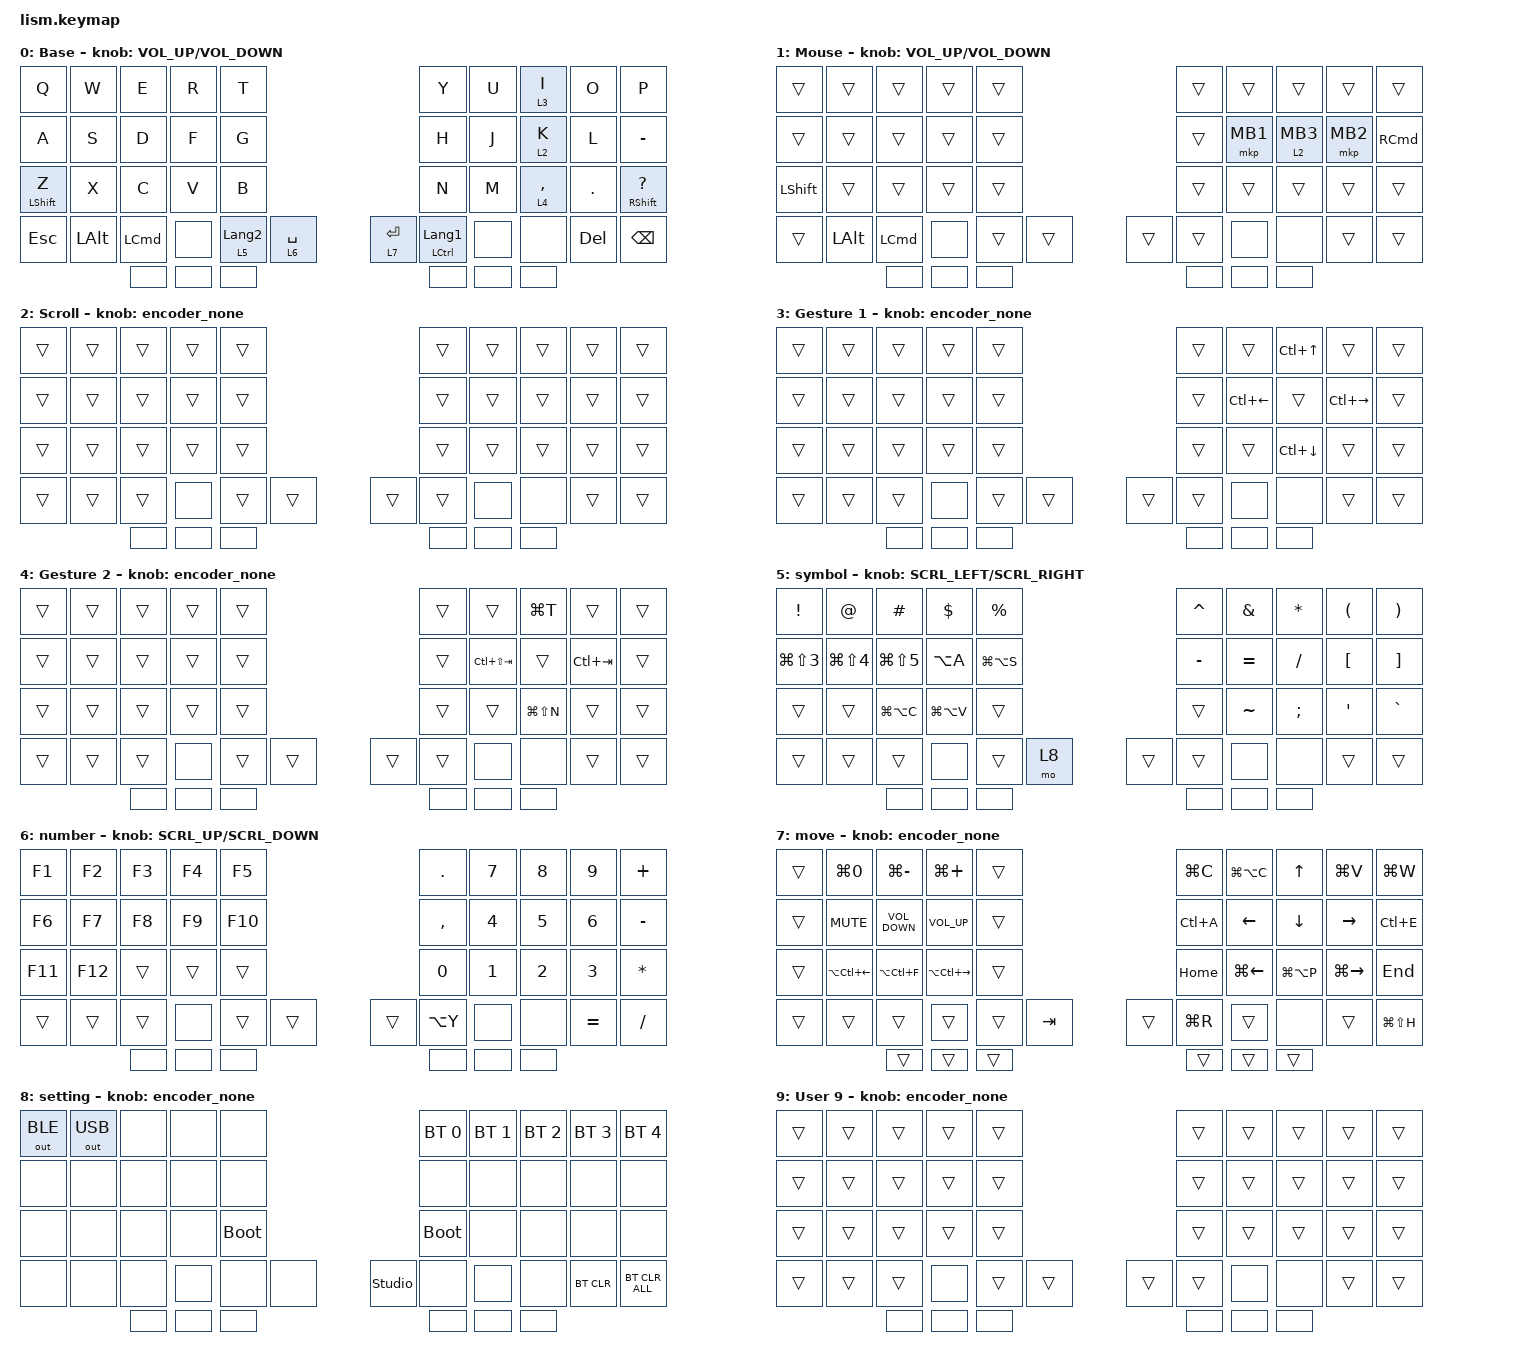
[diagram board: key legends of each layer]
#define ZMK_POINTING_DEFAULT_SCRL_VAL 200

#include <dt-bindings/zmk/mouse.h>
#include <behaviors.dtsi>
#include <dt-bindings/zmk/bt.h>
#include <dt-bindings/zmk/keys.h>
#include <dt-bindings/zmk/outputs.h>
#include <dt-bindings/zmk/pointing.h>

&mt {
    tapping-term-ms = <300>;
    flavor = "balanced";
};

&lt {
    tapping-term-ms = <300>;
    quick-tap-ms = <300>;
};

/*
 * Keep the standard &inc_dec_kp interface so Keymap Editor can edit both keycodes.
 * Its clockwise/counter-clockwise children add the shared two-step filter.
 */

&inc_dec_kp {
    bindings = <&encoder_key_divider_cw>, <&encoder_key_divider_ccw>;
};

/ {
    macros {
        emoji: emoji_macro {
            compatible = "zmk,behavior-macro";
            label = "EMOJI";
            #binding-cells = <0>;
            bindings =
                <&macro_press>,
                <&kp CAPSLOCK>,
                <&macro_tap>,
                <&kp E>,
                <&macro_release>,
                <&kp CAPSLOCK>;
        };
    };

    behaviors {
        mouse_lt: mouse_layer_tap {
            compatible = "zmk,behavior-hold-tap";
            #binding-cells = <2>;
            flavor = "tap-preferred";
            tapping-term-ms = <300>;
            quick-tap-ms = <300>;
            bindings = <&mo>, <&mkp>;

            display-name = "Mouse Layer-Tap";
        };

        encoder_key_divider_cw: encoder_key_divider_cw {
            compatible = "zmk,behavior-encoder-key-divider";
            #binding-cells = <1>;
            bindings = <&kp>;
            divisor = <2>;
            timeout-ms = <300>;
            direction = <1>;
            display-name = "Encoder Two-Step Clockwise";
        };

        encoder_key_divider_ccw: encoder_key_divider_ccw {
            compatible = "zmk,behavior-encoder-key-divider";
            #binding-cells = <1>;
            bindings = <&kp>;
            divisor = <2>;
            timeout-ms = <300>;
            direction = <2>;
            display-name = "Encoder Two-Step Counter-Clockwise";
        };

        encoder_msc: sensor_rotate_msc {
            compatible = "zmk,behavior-sensor-rotate-var";
            #sensor-binding-cells = <2>;
            bindings = <&msc>, <&msc>;

            tap-ms = <20>;
        };

        encoder_none: sensor_rotate_none {
            compatible = "zmk,behavior-sensor-rotate";
            #sensor-binding-cells = <0>;
            bindings = <&none>, <&none>;
        };
    };

    combos {
        compatible = "zmk,combos";

        exit_app {
            bindings = <&kp LG(Q)>;
            key-positions = <8 9>;
        };

        log_off {
            bindings = <&kp LG(LC(Q))>;
            key-positions = <40 41>;
        };
    };

    keymap {
        compatible = "zmk,keymap";

        default_layer {
            display-name = "Base";
            bindings = <
&kp Q         &kp W         &kp E             &kp R  &kp T                                         &kp Y                 &kp U  &lt 3 I      &kp O       &kp P
&kp A         &kp S         &kp D             &kp F  &kp G                                         &kp H                 &kp J  &lt 2 K      &kp L       &kp MINUS
&mt LSHIFT Z  &kp X         &kp C             &kp V  &kp B                                         &kp N                 &kp M  &lt 4 COMMA  &kp DOT     &mt RSHIFT QUESTION
&kp ESCAPE    &kp LEFT_ALT  &kp LEFT_COMMAND  &none  &lt 5 LANGUAGE_2  &lt 6 SPACE    &lt 7 ENTER  &mt LCTRL LANGUAGE_1  &none  &none        &kp DELETE  &kp BACKSPACE
                            &none             &none  &none                                         &none                 &none  &none
            >;

            sensor-bindings = <&inc_dec_kp C_VOLUME_UP C_VOLUME_DOWN>;
        };

        layer_1 {
            display-name = "Mouse";
            bindings = <
&trans      &trans        &trans            &trans  &trans                    &trans  &trans    &trans           &trans    &trans
&trans      &trans        &trans            &trans  &trans                    &trans  &mkp MB1  &mouse_lt 2 MB3  &mkp MB2  &kp RIGHT_COMMAND
&kp LSHIFT  &trans        &trans            &trans  &trans                    &trans  &trans    &trans           &trans    &trans
&trans      &kp LEFT_ALT  &kp LEFT_COMMAND  &none   &trans  &trans    &trans  &trans  &none     &none            &trans    &trans
                          &none             &none   &none                     &none   &none     &none
            >;

            sensor-bindings = <&inc_dec_kp C_VOLUME_UP C_VOLUME_DOWN>;
        };

        layer_2 {
            display-name = "Scroll";
            bindings = <
&trans  &trans  &trans  &trans  &trans                    &trans  &trans  &trans  &trans  &trans
&trans  &trans  &trans  &trans  &trans                    &trans  &trans  &trans  &trans  &trans
&trans  &trans  &trans  &trans  &trans                    &trans  &trans  &trans  &trans  &trans
&trans  &trans  &trans  &none   &trans  &trans    &trans  &trans  &none   &none   &trans  &trans
                &none   &none   &none                     &none   &none   &none
            >;

            sensor-bindings = <&encoder_none>;
        };

        layer_3 {
            display-name = "Gesture 1";
            bindings = <
&trans  &trans  &trans  &trans  &trans                    &trans  &trans              &kp LC(UP_ARROW)    &trans               &trans
&trans  &trans  &trans  &trans  &trans                    &trans  &kp LC(LEFT_ARROW)  &trans              &kp LC(RIGHT_ARROW)  &trans
&trans  &trans  &trans  &trans  &trans                    &trans  &trans              &kp LC(DOWN_ARROW)  &trans               &trans
&trans  &trans  &trans  &none   &trans  &trans    &trans  &trans  &none               &none               &trans               &trans
                &none   &none   &none                     &none   &none               &none
            >;

            sensor-bindings = <&encoder_none>;
        };

        layer_4 {
            display-name = "Gesture 2";
            bindings = <
&trans  &trans  &trans  &trans  &trans                    &trans  &trans           &kp LG(T)      &trans       &trans
&trans  &trans  &trans  &trans  &trans                    &trans  &kp LC(LS(TAB))  &trans         &kp LC(TAB)  &trans
&trans  &trans  &trans  &trans  &trans                    &trans  &trans           &kp LG(LS(N))  &trans       &trans
&trans  &trans  &trans  &none   &trans  &trans    &trans  &trans  &none            &none          &trans       &trans
                &none   &none   &none                     &none   &none            &none
            >;

            sensor-bindings = <&encoder_none>;
        };

        layer_5 {
            display-name = "symbol";
            bindings = <
&kp EXCLAMATION  &kp AT_SIGN     &kp HASH        &kp DOLLAR     &kp PERCENT                     &kp CARET  &kp AMPERSAND  &kp ASTERISK   &kp LEFT_PARENTHESIS  &kp RIGHT_PARENTHESIS
&kp LG(LS(N3))   &kp LG(LS(N4))  &kp LG(LS(N5))  &kp LA(A)      &kp LG(LA(S))                   &kp MINUS  &kp EQUAL      &kp SLASH      &kp LEFT_BRACKET      &kp RIGHT_BRACKET
&trans           &trans          &kp LG(LA(C))   &kp LG(LA(V))  &trans                          &trans     &kp TILDE      &kp SEMICOLON  &kp SQT               &kp GRAVE
&trans           &trans          &trans          &none          &trans         &mo 8    &trans  &trans     &none          &none          &trans                &trans
                                 &none           &none          &none                           &none      &none          &none
            >;

            sensor-bindings = <&encoder_msc SCRL_LEFT SCRL_RIGHT>;
        };

        layer_6 {
            display-name = "number";
            bindings = <
&kp F1   &kp F2   &kp F3  &kp F4  &kp F5                     &kp PERIOD    &kp NUMBER_7  &kp NUMBER_8  &kp NUMBER_9  &kp PLUS
&kp F6   &kp F7   &kp F8  &kp F9  &kp F10                    &kp COMMA     &kp NUMBER_4  &kp NUMBER_5  &kp NUMBER_6  &kp MINUS
&kp F11  &kp F12  &trans  &trans  &trans                     &kp NUMBER_0  &kp NUMBER_1  &kp NUMBER_2  &kp NUMBER_3  &kp ASTERISK
&trans   &trans   &trans  &none   &trans   &trans    &trans  &kp LA(Y)     &none         &none         &kp EQUAL     &kp SLASH
                  &none   &none   &none                      &none         &none         &none
            >;

            sensor-bindings = <&encoder_msc SCRL_UP SCRL_DOWN>;
        };

        layer_7 {
            display-name = "move";
            bindings = <
&trans  &kp LG(N0)              &kp LG(MINUS)      &kp LG(PLUS)             &trans                     &kp LG(C)  &kp LG(LA(C))       &kp UP_ARROW    &kp LG(V)            &kp LG(W)
&trans  &kp K_MUTE              &kp C_VOLUME_DOWN  &kp C_VOLUME_UP          &trans                     &kp LC(A)  &kp LEFT_ARROW      &kp DOWN_ARROW  &kp RIGHT_ARROW      &kp LC(E)
&trans  &kp LA(LC(LEFT_ARROW))  &kp LA(LC(F))      &kp LA(LC(RIGHT_ARROW))  &trans                     &kp HOME   &kp LG(LEFT_ARROW)  &kp LG(LA(P))   &kp LG(RIGHT_ARROW)  &kp END
&trans  &trans                  &trans             &trans                   &trans  &kp TAB    &trans  &kp LG(R)  &trans              &none           &trans               &kp LG(LS(H))
                                &trans             &trans                   &trans                     &trans     &trans              &trans
            >;

            sensor-bindings = <&encoder_none>;
        };

        layer_8 {
            display-name = "setting";
            bindings = <
&out OUT_BLE  &out OUT_USB  &none  &none  &none                                 &bt BT_SEL 0  &bt BT_SEL 1  &bt BT_SEL 2  &bt BT_SEL 3  &bt BT_SEL 4
&none         &none         &none  &none  &none                                 &none         &none         &none         &none         &none
&none         &none         &none  &none  &bootloader                           &bootloader   &none         &none         &none         &none
&none         &none         &none  &none  &none        &none    &studio_unlock  &none         &none         &none         &bt BT_CLR    &bt BT_CLR_ALL
                            &none  &none  &none                                 &none         &none         &none
            >;

            sensor-bindings = <&encoder_none>;
        };

        layer_9 {
            display-name = "User 9";
            bindings = <
&trans  &trans  &trans  &trans  &trans                    &trans  &trans  &trans  &trans  &trans
&trans  &trans  &trans  &trans  &trans                    &trans  &trans  &trans  &trans  &trans
&trans  &trans  &trans  &trans  &trans                    &trans  &trans  &trans  &trans  &trans
&trans  &trans  &trans  &none   &trans  &trans    &trans  &trans  &none   &none   &trans  &trans
                &none   &none   &none                     &none   &none   &none
            >;

            sensor-bindings = <&encoder_none>;
        };
    };
};
